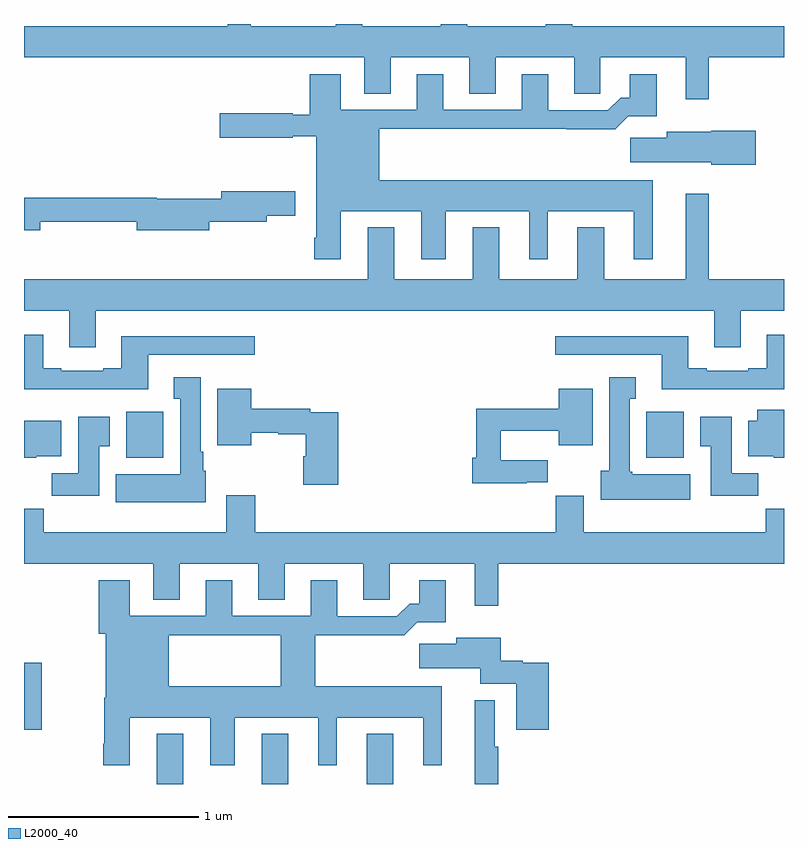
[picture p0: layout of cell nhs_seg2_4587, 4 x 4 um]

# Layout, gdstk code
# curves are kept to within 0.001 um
import gdstk
lib = gdstk.Library(unit=1e-6, precision=1e-09)
def R(c, l, rs):  # rectangles x0, y0, x1, y1
    for r in rs: c.add(gdstk.rectangle(r[:2], r[2:], *l))
def A(c, l, x, y, w, h, nx, ny, dx, dy):  # array of equal rectangles
    R(c, l, [(x+i*dx, y+j*dy, x+i*dx+w, y+j*dy+h) for i in range(nx) for j in range(ny)])
def P(c, l, *ps):  # polygons
    for p in ps: c.add(gdstk.Polygon(p, *l))
L2000_40 = (2000, 40)

nhs_seg2_4587 = lib.new_cell('nhs_seg2_4587')
A(nhs_seg2_4587, L2000_40, 359.699, 655.8, 0.14, 0.265, 3, 1, 0.552, 0)
R(nhs_seg2_4587, L2000_40, [(359,656.085,359.094,656.437), (359.537,657.518,359.734,657.76), (362.276,657.518,362.473,657.76)])
P(nhs_seg2_4587, L2000_40, [(362.605,659.624),(363,659.624),(363,659.788),(361.885,659.788),(361.885,659.8),(361.745,659.8),(361.745,659.788),(361.333,659.788),(361.333,659.8),(361.193,659.8),(361.193,659.788),(360.781,659.788),(360.781,659.8),(360.642,659.8),(360.642,659.788),(360.193,659.788),(360.193,659.8),(360.072,659.8),(360.072,659.788),(359,659.788),(359,659.624),(360.791,659.624),(360.791,659.434),(360.931,659.434),(360.931,659.624),(361.343,659.624),(361.343,659.434),(361.483,659.434),(361.483,659.624),(361.895,659.624),(361.895,659.434),(362.034,659.434),(362.034,659.624),(362.483,659.624),(362.483,659.403),(362.605,659.403)],
  [(360.667,658.814),(361.091,658.814),(361.091,658.563),(361.219,658.563),(361.219,658.814),(361.658,658.814),(361.658,658.563),(361.756,658.563),(361.756,658.814),(362.21,658.814),(362.21,658.563),(362.308,658.563),(362.308,658.978),(360.871,658.978),(360.871,659.248),(361.855,659.248),(361.855,659.246),(362.111,659.246),(362.18,659.315),(362.329,659.315),(362.329,659.536),(362.189,659.536),(362.189,659.413),(362.14,659.413),(362.073,659.346),(361.759,659.346),(361.759,659.536),(361.619,659.536),(361.619,659.349),(361.207,659.349),(361.207,659.536),(361.067,659.536),(361.067,659.349),(360.667,659.349),(360.667,659.536),(360.503,659.536),(360.503,659.323),(360.414,659.323),(360.414,659.331),(360.03,659.331),(360.03,659.201),(360.414,659.201),(360.414,659.209),(360.539,659.209),(360.539,658.675),(360.527,658.675),(360.527,658.563),(360.667,658.563)],
  [(362.851,659.238),(362.616,659.238),(362.616,659.233),(362.384,659.233),(362.384,659.201),(362.19,659.201),(362.19,659.072),(362.616,659.072),(362.616,659.06),(362.851,659.06)],
  [(359.086,658.758),(359.594,658.758),(359.594,658.715),(359.974,658.715),(359.974,658.758),(360.277,658.758),(360.277,658.792),(360.427,658.792),(360.427,658.921),(360.038,658.921),(360.038,658.88),(359.698,658.88),(359.698,658.886),(359,658.886),(359,658.715),(359.086,658.715)],
  [(359.377,658.292),(362.633,658.292),(362.633,658.098),(362.773,658.098),(362.773,658.292),(363,658.292),(363,658.456),(362.605,658.456),(362.605,658.906),(362.483,658.906),(362.483,658.456),(362.053,658.456),(362.053,658.729),(361.913,658.729),(361.913,658.456),(361.501,658.456),(361.501,658.729),(361.361,658.729),(361.361,658.456),(360.949,658.456),(360.949,658.729),(360.809,658.729),(360.809,658.456),(359,658.456),(359,658.292),(359.237,658.292),(359.237,658.098),(359.377,658.098)],
  [(363,658.165),(362.909,658.165),(362.909,657.988),(362.813,657.988),(362.813,657.975),(362.593,657.975),(362.593,657.988),(362.497,657.988),(362.497,658.156),(361.797,658.156),(361.797,658.059),(362.357,658.059),(362.357,657.878),(363,657.878)],
  [(359.653,658.059),(360.214,658.059),(360.214,658.156),(359.513,658.156),(359.513,657.988),(359.417,657.988),(359.417,657.975),(359.197,657.975),(359.197,657.988),(359.101,657.988),(359.101,658.165),(359,658.165),(359,657.878),(359.653,657.878)],
  [(359.956,657.45),(359.944,657.45),(359.944,657.55),(359.929,657.55),(359.929,657.94),(359.789,657.94),(359.789,657.827),(359.822,657.827),(359.822,657.43),(359.483,657.43),(359.483,657.284),(359.956,657.284)],
  [(362.506,657.43),(362.202,657.43),(362.202,657.444),(362.188,657.444),(362.188,657.827),(362.221,657.827),(362.221,657.94),(362.081,657.94),(362.081,657.45),(362.036,657.45),(362.036,657.296),(362.506,657.296)],
  [(360.653,657.756),(360.506,657.756),(360.506,657.776),(360.196,657.776),(360.196,657.88),(360.017,657.88),(360.017,657.584),(360.196,657.584),(360.196,657.648),(360.339,657.648),(360.339,657.64),(360.482,657.64),(360.482,657.525),(360.47,657.525),(360.47,657.375),(360.653,657.375)],
  [(361.646,657.387),(361.757,657.387),(361.757,657.505),(361.51,657.505),(361.51,657.659),(361.814,657.659),(361.814,657.584),(361.993,657.584),(361.993,657.88),(361.814,657.88),(361.814,657.776),(361.381,657.776),(361.381,657.518),(361.358,657.518),(361.358,657.383),(361.646,657.383)],
  [(363,657.769),(362.858,657.769),(362.858,657.712),(362.813,657.712),(362.813,657.524),(362.946,657.524),(362.946,657.518),(363,657.518)],
  [(359.395,657.577),(359.452,657.577),(359.452,657.733),(359.285,657.733),(359.285,657.436),(359.146,657.436),(359.146,657.318),(359.395,657.318)],
  [(362.864,657.436),(362.725,657.436),(362.725,657.733),(362.558,657.733),(362.558,657.577),(362.615,657.577),(362.615,657.318),(362.864,657.318)],
  [(359.064,657.524),(359.197,657.524),(359.197,657.712),(359,657.712),(359,657.518),(359.064,657.518)],
  [(361.495,656.96),(363,656.96),(363,657.248),(362.905,657.248),(362.905,657.124),(361.945,657.124),(361.945,657.317),(361.799,657.317),(361.799,657.124),(360.218,657.124),(360.218,657.319),(360.065,657.319),(360.065,657.124),(359.105,657.124),(359.105,657.248),(359,657.248),(359,656.96),(359.681,656.96),(359.681,656.77),(359.821,656.77),(359.821,656.96),(360.233,656.96),(360.233,656.77),(360.373,656.77),(360.373,656.96),(360.785,656.96),(360.785,656.77),(360.924,656.77),(360.924,656.96),(361.373,656.96),(361.373,656.739),(361.495,656.739)],
  [(359.422,656.254),(359.422,656.011),(359.417,656.011),(359.417,655.899),(359.557,655.899),(359.557,656.15),(359.981,656.15),(359.981,655.899),(360.109,655.899),(360.109,656.15),(360.548,656.15),(360.548,655.899),(360.646,655.899),(360.646,656.15),(361.1,656.15),(361.1,655.899),(361.198,655.899),(361.198,656.314),(360.533,656.314),(360.533,656.582),(361.001,656.582),(361.07,656.651),(361.219,656.651),(361.219,656.872),(361.079,656.872),(361.079,656.749),(361.03,656.749),(360.963,656.682),(360.649,656.682),(360.649,656.872),(360.509,656.872),(360.509,656.685),(360.097,656.685),(360.097,656.872),(359.957,656.872),(359.957,656.685),(359.557,656.685),(359.557,656.872),(359.393,656.872),(359.393,656.592),(359.429,656.592),(359.429,656.314),(359.761,656.314),(359.761,656.584),(360.35,656.584),(360.35,656.314),(359.429,656.314),(359.429,656.254)],
  [(361.763,656.437),(361.626,656.437),(361.626,656.45),(361.51,656.45),(361.51,656.569),(361.274,656.569),(361.274,656.537),(361.08,656.537),(361.08,656.408),(361.4,656.408),(361.4,656.327),(361.592,656.327),(361.592,656.085),(361.763,656.085)],
  [(361.495,655.997),(361.477,655.997),(361.477,656.242),(361.373,656.242),(361.373,655.8),(361.495,655.8)])

lib.write_gds('nhs_seg2_4587.gds')
